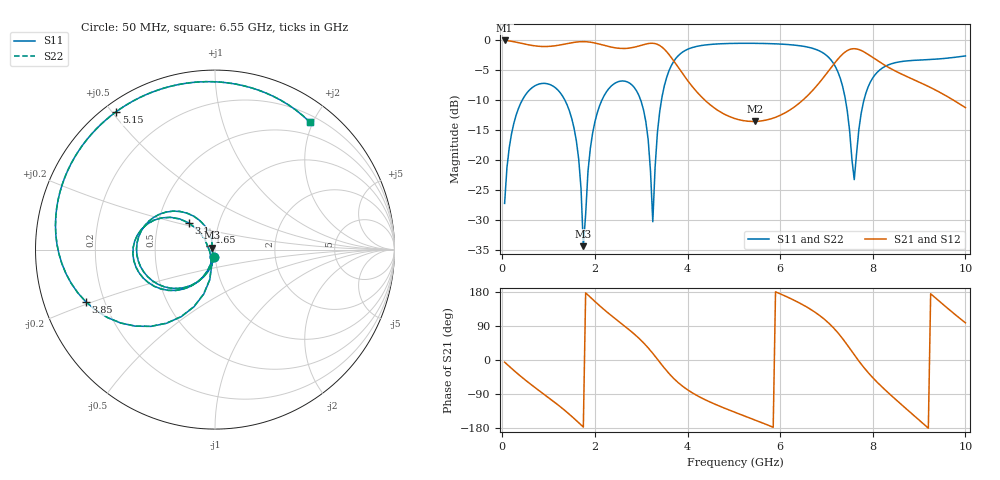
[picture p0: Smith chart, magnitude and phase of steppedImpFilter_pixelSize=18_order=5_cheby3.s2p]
! freq	dB(S11)	phase(S11)	dB(S12)	phase(S12)
!  dB(S21)	phase(S21)	dB(S22)	phase(S22)
!S-par simulation data
#  GHz  S  DB  R 50
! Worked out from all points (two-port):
!   200 points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, 50 MHz to 10 GHz, reference 50 ohm
!   highest |S21| = -0.02 dB at 50 MHz (marker M1); lowest = -13.6 dB at 5.45 GHz (marker M2)
!   |S21| within 3 dB of the highest: start of sweep to 3.663 GHz; 7.261 GHz to 8.03 GHz (769 MHz wide, 10.1 % of centre)
!   lowest |S11| = -34.4 dB at 1.75 GHz (marker M3), VSWR 1.04, Z = 48.4 + j1.01 ohm
!   |S11| at or under -10 dB: start of sweep to 431.3 MHz; 1.352 GHz to 2.15 GHz (798.1 MHz wide, 45.6 % of centre); 2.988 GHz to 3.438 GHz (449.4 MHz wide, 14 % of centre) (the widest 3 of 4)
!   |S22| runs from -34.5 to -0.5 dB; largest |S21 - S12| = 0
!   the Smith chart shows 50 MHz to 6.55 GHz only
!   S11 on the Smith chart (normalised r, x): 50 MHz: 0.99, -0.09; 1.65 GHz: 0.92, +0.18; 3.1 GHz: 0.72, +0.22; 3.85 GHz: 0.13, -0.19; 5.15 GHz: 0.04, +0.51; 6.55 GHz: 0.30, +1.95
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0.05  -27.25 -95.8  -0.02 -5.7  -0.02 -5.7  -27.25 -95.8
0.25  -13.84 -118.1  -0.22 -27.6  -0.22 -27.6  -13.84 -118.1
0.7  -7.61 -162.6  -0.92 -72.2  -0.92 -72.2  -7.61 -162.6
1.65  -19.86 109.2  -0.24 -165.5  -0.24 -165.5  -19.86 109.1
1.75  -34.40 147.0  -0.21 -177.0  -0.21 -177.0  -34.50 146.7
1.9  -18.12 -109.5  -0.30 165.7  -0.30 165.7  -18.12 -109.3
2.2  -9.23 -139.0  -0.83 132.8  -0.83 132.8  -9.22 -138.9
3.1  -13.61 134.4  -0.62 38.9  -0.62 38.9  -13.60 134.7
3.25  -30.31 -163.9  -0.49 17.5  -0.49 17.5  -30.05 -163.9
3.4  -11.86 -104.1  -0.86 -5.8  -0.86 -5.8  -11.86 -104.4
3.85  -2.21 -157.9  -5.08 -65.1  -5.08 -65.1  -2.21 -157.9
5.05  -0.50 130.2  -13.13 -139.2  -13.13 -139.2  -0.50 130.2
5.15  -0.49 125.6  -13.33 -143.9  -13.33 -143.9  -0.49 125.6
5.45  -0.50 112.0  -13.56 -158.0  -13.56 -158.0  -0.50 112.0
6.55  -1.06 53.5  -9.56 141.6  -9.56 141.6  -1.06 53.5
6.7  -1.33 42.8  -8.38 130.4  -8.38 130.4  -1.33 42.8
7.3  -6.38 -17.8  -2.68 63.9  -2.68 63.9  -6.38 -17.7
7.6  -23.27 23.9  -1.39 13.8  -1.39 13.8  -23.15 23.7
7.85  -8.85 57.0  -2.11 -26.0  -2.11 -26.0  -8.85 56.8
8.35  -4.05 1.7  -4.56 -88.3  -4.56 -88.3  -4.06 1.6
9.2  -3.22 -88.3  -7.70 -179.9  -7.70 -179.9  -3.22 -88.3
10  -2.61 -172.8  -11.24 98.2  -11.24 98.2  -2.61 -172.9
